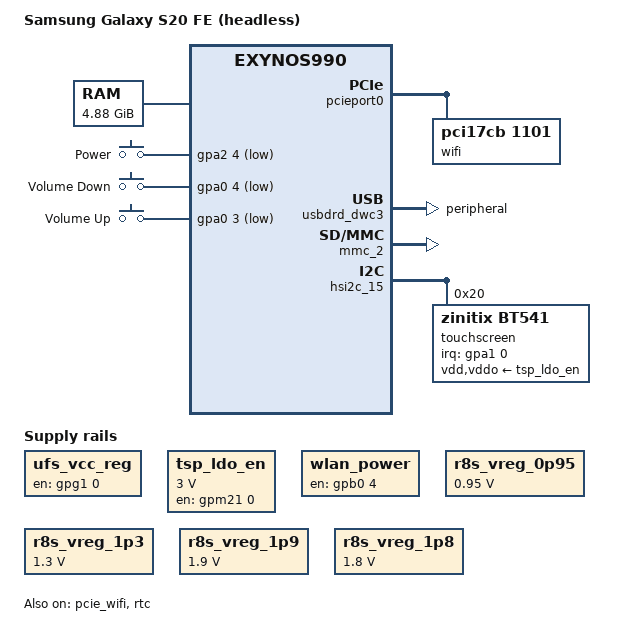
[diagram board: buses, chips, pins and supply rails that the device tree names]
// SPDX-License-Identifier: GPL-2.0 OR BSD-3-Clause
/*
 * Samsung Galaxy S20 FE (r8s / SM-G780F) — device tree para uso HEADLESS
 *
 * RASCUNHO NÃO COMPILADO E NÃO TESTADO — 2026-09-13.
 * Montado a partir de três fontes, todas verificadas:
 *   1. arch/arm64/boot/dts/exynos/exynos990-r8s.dts do mainline (mapa de
 *      memória do r8s, framebuffer 1080x2400, teclas) — é a base correta;
 *   2. kernel/dts/exynos990-z3s.dts do porte z3s (s2mpu, pcie, ufs vcc) —
 *      o que o mainline não tem;
 *   3. o DTB DE ESTOQUE DO PRÓPRIO r8s, extraído do firmware de rollback
 *      (AP → boot.img → dt_table → r8s-estoque.dtb), que é quem confirma
 *      que os GPIOs de placa do z3s valem aqui.
 *
 * GPIOs conferidos no DTB de estoque do r8s (não copiados no escuro):
 *   cnss_wlan_en  = gpb0-4   (z3s: wlan_power = gpb0 4)      → IGUAL
 *   pcie0_perst   = gpf0-1   (z3s: reset-gpios = gpf0 1)     → IGUAL
 *   pcie0_clkreq  = gpf0-0                                   → IGUAL
 *   ufs vcc       = gpg1-0   (z3s: ufs_vcc_reg = gpg1 0)     → IGUAL
 *   teclas        = gpa2-4 / gpa0-4 / gpa0-3                 → IGUAL
 *
 * DIFERENÇA QUE NÃO TRANSFERE: o Wi-Fi. O z3s é Broadcom BCM4375 e usa um
 * brcmfmac portado. O r8s é QUALCOMM QCA6390 — o nó filho do PCIe tem que
 * ser ath11k (mainline), com o firmware extraído de /vendor/firmware/qca6390.
 */

/dts-v1/;
#include "exynos990.dtsi"
#include <dt-bindings/gpio/gpio.h>
#include <dt-bindings/input/input.h>
#include <dt-bindings/interrupt-controller/irq.h>

/ {
	model = "Samsung Galaxy S20 FE (headless)";
	compatible = "samsung,r8s", "samsung,exynos990";

	#address-cells = <2>;
	#size-cells = <2>;

	chosen {
		#address-cells = <2>;
		#size-cells = <2>;
		ranges;

		/*
		 * root=/dev/sda32 é a USERDATA deste aparelho — confirmado com o
		 * Android de fábrica montando /data em /dev/block/sda32 (227 GB).
		 * Na fase 1 isso vai ser trocado pelo microSD, que foi o primeiro
		 * root que funcionou no z3s.
		 */
		bootargs = "console=tty0 quiet loglevel=0 clk_ignore_unused maxcpus=1 nmi_watchdog=0 nosoftlockup";

		framebuffer0: framebuffer@f1000000 {
			compatible = "simple-framebuffer";
			reg = <0 0xf1000000 0 (1080 * 2400 * 4)>;
			width = <1080>;
			height = <2400>;
			stride = <(1080 * 4)>;
			format = "a8r8g8b8";
		};
	};

	/*
	 * MAPA DE MEMÓRIA — NÃO usar o do z3s (12/16 GB): mapa errado não dá
	 * erro educado, dá corrupção.
	 *
	 * ACHADO 13/09: o DTB de ESTOQUE deste aparelho não tem nó de memória
	 * nenhum — o S-Boot INJETA o mapa em tempo de boot. O /proc/device-tree
	 * do aparelho vivo mostra 16 nós, e na região alta são 12, de
	 * memory@880000000 a memory@9e0000000, espaçados 0x20000000 (512 MiB):
	 * 12 x 512 MiB = 6 GiB, terminando em 0xa00000000.
	 *
	 * O exynos990-r8s.dts do mainline declara só <0x8 0x80000000 0x0
	 * 0xc0000000> = 3 GiB nessa região, ou seja SUBDECLARA ~3 GiB. Com ele
	 * o total fecha 4,875 GiB, e este aparelho tem MemTotal 7.653.524 kB.
	 * Num servidor que vai gravar câmera, jogar fora 1/3 da RAM não é
	 * detalhe.
	 *
	 * O tamanho de 512 MiB por nó é INFERIDO do espaçamento (o SELinux nega
	 * a leitura das propriedades sem root). A aritmética fecha: 6 GiB +
	 * ~1,3 GiB da região baixa ~= o MemTotal medido, com o resto em
	 * carveout. VERIFICAR NO PRIMEIRO BOOT: se /proc/meminfo do mainline
	 * não bater, voltar para o valor conservador do upstream, que está
	 * comentado abaixo.
	 *
	 * COMPILADO E CONFERIDO 13/09: o .dtb gerado declara 7,875 GiB contra os
	 * 4,875 GiB do upstream. O MemTotal medido é 7,300 GiB — a diferença de
	 * 0,575 GiB é carveout reservado, que é exatamente o esperado.
	 */
	memory@80000000 {
		device_type = "memory";
		reg = <0x0 0x80000000 0x0 0x3ab00000>,
		      <0x0 0xc1200000 0x0 0x1ee00000>,
		      <0x0 0xe1900000 0x0 0x1e700000>,
		      /* upstream, conservador: <0x8 0x80000000 0x0 0xc0000000> */
		      <0x8 0x80000000 0x0 0xc0000000>;  /* VARIANTE B: mapa conservador do upstream */
	};

	reserved-memory {
		#address-cells = <2>;
		#size-cells = <2>;
		ranges;

		cont_splash_mem: framebuffer@f1000000 {
			reg = <0 0xf1000000 0 0x13c6800>;
			no-map;
		};

		ramoops@f0000000 {
			compatible = "ramoops";
			reg = <0 0xf0000000 0 0x100000>;
			console-size = <0x80000>;
			record-size = <0x20000>;
			pmsg-size = <0x20000>;
			ecc = <0>;
		};

		/*
		 * O EL2 da Samsung é dono desta tabela e a atualiza por
		 * HVC_FID_SET_S2MPU_FOR_WIFI. Deixar estas páginas no alocador
		 * do Linux corrompe as permissões de DMA do PCIe.
		 */
		s2mpu_table: s2mpu-table@c1800000 {
			compatible = "exynos,s2mpu_table";
			reg = <0 0xc1800000 0 0x300000>;
			no-map;
		};
	};

	s2mpu {
		compatible = "samsung,exynos-s2mpu";
		instance-num = <34>;
		instance-names = "aud", "csis_d0", "csis_d1",
				 "dpu0", "dpu1", "dpu2", "ipp",
				 "tnr_d0", "tnr_d1", "dns",
				 "mcsc_d0", "mcsc_d1",
				 "g2d_d0", "g2d_d1", "g2d_d2",
				 "dnc_d0", "dnc_d1", "dnc_d2",
				 "dnc_d3", "dnc_d4", "vra",
				 "mfc_d0", "mfc_d1",
				 "hsi0", "hsi1", "hsi2",
				 "acvps", "secu", "dit", "sbic",
				 "g3d0", "g3d1", "g3d2", "g3d3";
	};

	gpio-keys {
		compatible = "gpio-keys";
		pinctrl-0 = <&key_power &key_voldown &key_volup>;
		pinctrl-names = "default";

		power-key {
			label = "Power";
			linux,code = <KEY_POWER>;
			gpios = <&gpa2 4 GPIO_ACTIVE_LOW>;
			wakeup-source;
		};
		voldown-key {
			label = "Volume Down";
			linux,code = <KEY_VOLUMEDOWN>;
			gpios = <&gpa0 4 GPIO_ACTIVE_LOW>;
		};
		volup-key {
			label = "Volume Up";
			linux,code = <KEY_VOLUMEUP>;
			gpios = <&gpa0 3 GPIO_ACTIVE_LOW>;
		};
	};


	/*
	 * PCIe HSI1 — no estoque vem status="disabled" e é ligado por overlay.
	 * Endereços, ranges, num-lanes e max-link-speed conferem byte a byte
	 * com o nó do z3s; o reset em gpf0-1 também.
	 */
	pcie_wifi: pcie@133b0000 {
		compatible = "samsung,exynos990-pcie";
		reg = <0x0 0x133b0000 0x0 0x1000>,
		      <0x0 0x133e0000 0x0 0x1000>,
		      <0x0 0x133f0000 0x0 0x1000>,
		      <0x0 0x133d0000 0x0 0x01fc>,
		      <0x0 0x11ffe000 0x0 0x2000>,
		      <0x0 0x13000000 0x0 0x4000>;
		reg-names = "elbi", "phy", "dbi", "pcs", "config", "cmu";
		interrupts = <GIC_SPI 314 IRQ_TYPE_LEVEL_HIGH>;
		interrupt-names = "pcie";
		#interrupt-cells = <1>;
		interrupt-map-mask = <0x0 0x0 0x0 0x0>;
		interrupt-map = <0x0 0x0 0x0 0x0
				 &gic GIC_SPI 314 IRQ_TYPE_LEVEL_HIGH>;
		#address-cells = <3>;
		#size-cells = <2>;
		device_type = "pci";
		linux,pci-domain = <0>;
		bus-range = <0x00 0xff>;
		ranges = <0x82000000 0x0 0x11000000
			  0x0 0x11000000
			  0x0 0x00ff0000>;
		num-lanes = <1>;
		max-link-speed = <1>;
		reset-gpios = <&gpf0 1 GPIO_ACTIVE_LOW>;
		pinctrl-names = "default";
		pinctrl-0 = <&pcie0_clkreq &pcie0_perst>;
		clocks = <&cmu_top CLK_GOUT_CMU_HSI1_PCIE>;
		clock-names = "pcie";
		samsung,sysreg = <&sysreg_hsi1>;
		samsung,pmu = <&pmu_system_controller>;
		vpcie-supply = <&wlan_power>;
		status = "okay";

	};

	/* gpg1-0, confirmado como 'ufs-vcc' no fixedregulator@0 do estoque */
	ufs_vcc_reg: regulator-ufs-vcc {
		compatible = "regulator-fixed";
		regulator-name = "ufs-vcc";
		gpio = <&gpg1 0 GPIO_ACTIVE_HIGH>;
		enable-active-high;
		regulator-boot-on;
		regulator-always-on;
	};
};

&oscclk {
	clock-frequency = <26000000>;
};

&pinctrl_alive {
	key_power: key-power-pins {
		samsung,pins = "gpa2-4";
		samsung,pin-function = <EXYNOS_PIN_FUNC_EINT>;
		samsung,pin-pud = <EXYNOS_PIN_PULL_NONE>;
		samsung,pin-drv = <EXYNOS5420_PIN_DRV_LV1>;
	};
	key_voldown: key-voldown-pins {
		samsung,pins = "gpa0-4";
		samsung,pin-function = <EXYNOS_PIN_FUNC_EINT>;
		samsung,pin-pud = <EXYNOS_PIN_PULL_NONE>;
		samsung,pin-drv = <EXYNOS5420_PIN_DRV_LV1>;
	};
	key_volup: key-volup-pins {
		samsung,pins = "gpa0-3";
		samsung,pin-function = <EXYNOS_PIN_FUNC_EINT>;
		samsung,pin-pud = <EXYNOS_PIN_PULL_NONE>;
		samsung,pin-drv = <EXYNOS5420_PIN_DRV_LV1>;
	};

	/*
	 * Pino de interrupcao do toque. SEM ISTO o request_irq falha com -22:
	 * gpa1 e um interrupt-controller valido, mas o pino precisa estar em
	 * funcao EINT para a linha existir. O estoque declara exatamente assim
	 * (attn-irq: gpa1-0, pin-function 0xf = EXYNOS_PIN_FUNC_EINT).
	 */
	tsp_attn_irq: tsp-attn-irq-pins {
		samsung,pins = "gpa1-0";
		samsung,pin-function = <EXYNOS_PIN_FUNC_EINT>;
		samsung,pin-pud = <EXYNOS_PIN_PULL_NONE>;
		samsung,pin-drv = <EXYNOS5420_PIN_DRV_LV1>;
	};
};

/*
 * FASE 1: peripheral, porque o gadget USB (RNDIS + ACM) é o console de
 * resgate — é por ele que se entra quando o Wi-Fi não sobe.
 *
 * ATENÇÃO, MUDA NA FASE 3: o destino final deste aparelho exige dr_mode =
 * "host", senão o hub com a NIC Ethernet e o SSD de vídeo não funcionam.
 * Os dois não coexistem sem OTG/role-switch; trocar só depois de ter outra
 * via de acesso comprovada.
 */
&usbdrd_dwc3 {
	dr_mode = "peripheral";
	maximum-speed = "high-speed";
	snps,dis_u2_susphy_quirk;
	snps,dis_enblslpm_quirk;
};

&ufs_0 {
	vcc-supply = <&ufs_vcc_reg>;
};

/*
 * microSD.
 *
 * ATENCAO: so habilitar COM CARTAO INSERIDO. O no usa 'broken-cd' (o pino de
 * deteccao do z3s oscila sob carga e provoca reinicializacao em laco), entao
 * sem cartao o controlador entra em timeout repetido, soterra o console e
 * atrapalha o resto do boot. Foi por isso que ficou desligado ate 14/09.
 *
 * Para desligar de novo: status = "disabled".
 */
&mmc_2 {
	/*
	 * 50 MHz, nao os 25 do dtsi.
	 *
	 * O teto de 25 MHz veio do porte do z3s junto com o 'broken-cd' — era
	 * correcao de instabilidade DELES. MEDIDO no r8s em 14/09: a 50 MHz
	 * pedidos o barramento sobe de 20,15 para 33,58 MHz reais (o divisor e
	 * inteiro: 201,5 / 2*3), com ZERO erros de mmc, e a leitura sobe ~30%.
	 *
	 * Nao adianta pedir mais: o nucleo do MMC limita o clock a capacidade que
	 * o CARTAO declara, e em SD high-speed isso e 50 MHz. Pedir 50,375 deu
	 * exatamente o mesmo 33,58. Passar disso exige UHS (SDR50/SDR104), que
	 * precisa comutar o vqmmc para 1,8 V — hoje impossivel, porque os trilhos
	 * sao fixos em 2,95 V (ver exynos990-sd-rails.c).
	 */
	max-frequency = <50000000>;
	status = "okay";
};

/*
 * S2DOS05 e o touchscreen S6SY761 DESLIGADOS neste aparelho.
 *
 * Os dois vem do dtsi do z3s, que os colocou no nivel de SoC — mas sao
 * board-level, e o r8s NAO os tem. Prova, lida do dtbo.img de estoque do
 * proprio r8s: aqui o toque e 'zinitix,zt_ts_device' @0x20 (ou
 * 'stm,fts_touch' @0x49, conforme a unidade), alimentado por um
 * regulator-fixed por GPIO chamado 'tsp_ldo_en' — nao por sub-PMIC nenhum.
 *
 * Efeito pratico: some o erro que aparecia todo boot,
 *   s2dos05-regulator 1-0060: error -ETIMEDOUT: S2DOS05 not responding
 * que era eu procurando um chip que nao existe nesta placa.
 */
&s2dos05 {
	status = "disabled";
};

/*
 * TOQUE do r8s. Tudo lido do dtbo.img de estoque deste aparelho:
 *   barramento .... hsi2c_15 (fixups: hsi2c_15 = '/fragment@50:target:0')
 *   pinos I2C ..... gpp5-6 / gpp5-7  (tspi2c-bus)
 *   interrupcao ... gpa1-0           (attn-irq)
 *   alimentacao ... regulator-fixed 'tsp_ldo_en' em gpm21, 3,0 V, ativo alto
 *   chip .......... zinitix zt7650 @0x20. MEDIDO com i2cdetect no aparelho:
 *                   so 0x20 responde no barramento; o ST fts5cu56a @0x49 que o
 *                   estoque tambem declara NAO existe nesta unidade. Deixar os
 *                   dois nos quebrava o pinctrl, porque dois donos disputavam
 *                   o mesmo pino gpa1-0 ('Error applying setting').
 *
 * Diferenca importante em relacao ao z3s: la o toque dependia do sub-PMIC
 * S2DOS05 (que este aparelho NAO tem). Aqui e um LDO simples por GPIO.
 *
 * RESSALVA: o driver zinitix do mainline nao lista 'zt7650'. Amarramos como
 * 'zinitix,bt541', que e da mesma familia de protocolo — e uma APOSTA, e o
 * probe dira se cola. O ST tem 'st,stmfts' de verdade no mainline.
 */
/ {
	tsp_ldo_en: regulator-tsp {
		compatible = "regulator-fixed";
		regulator-name = "tsp_ldo_en";
		regulator-min-microvolt = <3000000>;
		regulator-max-microvolt = <3000000>;
		gpio = <&gpm21 0 GPIO_ACTIVE_HIGH>;
		enable-active-high;
		regulator-boot-on;
	};
};

/* o s6sy761 e do z3s; este aparelho nao tem esse chip */
&hsi2c_15 {
	status = "okay";

	touchscreen@20 {
		compatible = "zinitix,bt541";
		reg = <0x20>;
		interrupt-parent = <&gpa1>;
		interrupts = <0 IRQ_TYPE_LEVEL_LOW>;  /* como o z3s: EDGE_FALLING dava -22 */
		pinctrl-names = "default";
		pinctrl-0 = <&tsp_attn_irq>;
		vdd-supply = <&tsp_ldo_en>;
		vddo-supply = <&tsp_ldo_en>;
		touchscreen-size-x = <1080>;
		touchscreen-size-y = <2400>;
		status = "okay";
	};

};

/*
 * QCA6390 (Wi-Fi + Bluetooth) pelo caminho que o kernel ja tem pronto:
 *   drivers/power/sequencing/pwrseq-qcom-wcn.c   "qcom,qca6390-pmu"
 *   drivers/pci/pwrctl/pci-pwrctl-pwrseq.c       "pci17cb,1101"
 *
 * Eu estava ligando trilho e GPIO na mao e esperando o link treinar. O chip
 * exige SEQUENCIA e tempos, e e isso que o pwrseq faz. Molde: o DTS do
 * naughtyGitCat/armbian-oneplus-kebab, que roda QCA6390 em mainline.
 *
 * ALIMENTACAO neste aparelho: dos 8 trilhos que o chip pede, **7 ja sao
 * `always-on` no PMIC** (verificado: das 16 BUCKs do s2mps19, BUCK4M e a UNICA
 * que nao e always-on). Entao eles sao declarados aqui como regulator-fixed —
 * nao porque sejam falsos, mas porque ja estao energizados e o que falta ao
 * kernel e apenas um consumidor para o pwrseq segurar.
 *
 * O de 0,95 V (BUCK4M) esta ligado por escrita direta no PMIC via ACPM
 * (CTRL 0x3d=0xd8, OUT 0x3e=0x50), que PERSISTE entre boots. Enquanto nao
 * houver driver de regulador para o S2MPS19, e assim.
 */
/ {
	/*
	 * O que garante a ORDEM: com vpcie-supply, o driver do PCIe habilita
	 * este regulador ANTES de treinar o link. Foi assim na primeira
	 * tentativa — o que estava errado la era a TENSAO do BUCK4M (0,45 V,
	 * porque eu so tinha escrito o CTRL e nao o OUT). Agora o trilho esta
	 * em 0,95 V e persiste entre boots.
	 */
	wlan_power: regulator-wlan {
		compatible = "regulator-fixed";
		regulator-name = "wlan-enable";
		gpio = <&gpb0 4 GPIO_ACTIVE_HIGH>;
		enable-active-high;
		regulator-boot-on;
		regulator-always-on;
		startup-delay-us = <20000>;
	};

	r8s_vreg_0p95: regulator-wcn-0p95 {
		compatible = "regulator-fixed";
		regulator-name = "wcn-0p95";       /* BUCK4M, ligado via ACPM */
		regulator-min-microvolt = <950000>;
		regulator-max-microvolt = <950000>;
		regulator-always-on;
		regulator-boot-on;
	};
	r8s_vreg_1p3: regulator-wcn-1p3 {
		compatible = "regulator-fixed";
		regulator-name = "wcn-1p3";
		regulator-min-microvolt = <1300000>;
		regulator-max-microvolt = <1300000>;
		regulator-always-on;
		regulator-boot-on;
	};
	r8s_vreg_1p9: regulator-wcn-1p9 {
		compatible = "regulator-fixed";
		regulator-name = "wcn-1p9";
		regulator-min-microvolt = <1900000>;
		regulator-max-microvolt = <1900000>;
		regulator-always-on;
		regulator-boot-on;
	};
	r8s_vreg_1p8: regulator-wcn-1p8 {
		compatible = "regulator-fixed";
		regulator-name = "wcn-1p8";
		regulator-min-microvolt = <1800000>;
		regulator-max-microvolt = <1800000>;
		regulator-always-on;
		regulator-boot-on;
	};

};

&pcie_wifi {
	/*
	 * NAO redeclarar 'ranges' aqui. Um 'ranges;' VAZIO substitui a janela de
	 * memoria que o no original declara (0x11000000, ~16 MB), e o BAR de 1 MB
	 * do QCA6390 fica sem onde caber:
	 *   non-prefetchable memory resource required
	 *   bridge window [mem size 0x00100000]: can't assign; no space
	 * O link ja treinava; era so isso que faltava.
	 */
	#address-cells = <3>;
	#size-cells = <2>;

	pcieport0: pcie@0,0 {
		device_type = "pci";
		reg = <0x0 0x0 0x0 0x0 0x0>;
		#address-cells = <3>;
		#size-cells = <2>;
		ranges;
		bus-range = <0x01 0xff>;

		wifi@0,0 {
			compatible = "pci17cb,1101";
			reg = <0x10000 0x0 0x0 0x0 0x0>;
			qcom,ath11k-calibration-variant = "Samsung-r8s";

		};
	};
};

/*
 * RTC. Sem ele o aparelho acorda com a hora zerada a cada boot — o que ja
 * custou caro hoje: o apt recusou as assinaturas do repositorio com
 * "Not live until ...", porque o relogio estava em abril.
 *
 * O DT de estoque tem `rtc@15920000` com `samsung,exynos8-rtc`; o mainline
 * atende o mesmo bloco pelo `samsung,s3c6410-rtc` (rtc-s3c.c, ja =y na config).
 * IRQs 47 e 48, lidas do estoque (0x2f, 0x30).
 *
 * Os clocks: o driver exige "rtc" e "rtc_src" (s3c6410_rtc_data tem
 * needs_src_clk = true) e a nossa arvore nao expoe o gate do CMU. Como o
 * bootloader JA usa o RTC, o gate de hardware esta ligado; entao aqui os dois
 * sao fixed-clock, que dao ao driver um objeto para habilitar sem mexer em
 * hardware. Se algum dia o clk-exynos990 expuser o gate real, trocar por ele.
 */
/ {
	rtcclk: clock-rtc {
		compatible = "fixed-clock";
		#clock-cells = <0>;
		clock-frequency = <32768>;
		clock-output-names = "rtcclk";
	};
};

&soc {
	rtc: rtc@15920000 {
		compatible = "samsung,s3c6410-rtc";
		reg = <0x15920000 0x100>;
		interrupts = <GIC_SPI 47 IRQ_TYPE_LEVEL_HIGH>,
			     <GIC_SPI 48 IRQ_TYPE_LEVEL_HIGH>;
		clocks = <&rtcclk>, <&rtcclk>;
		clock-names = "rtc", "rtc_src";
		status = "okay";
	};
};
